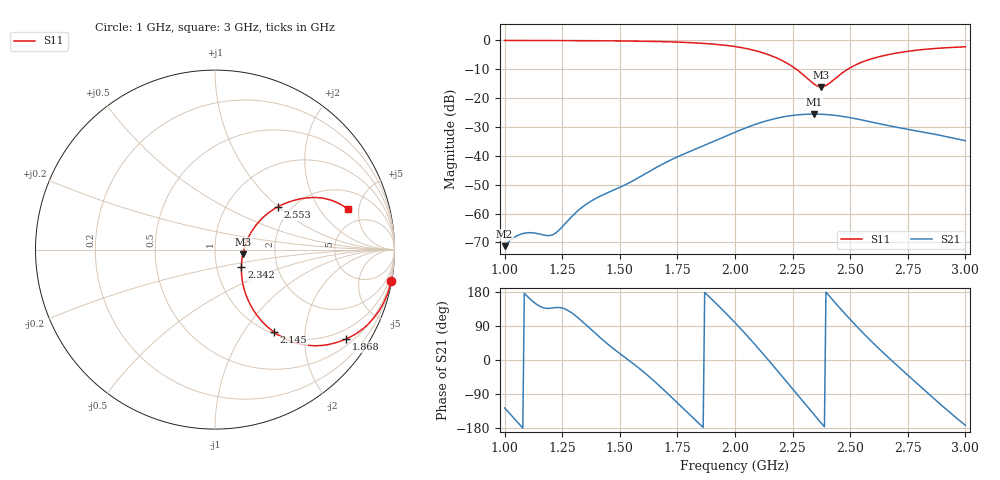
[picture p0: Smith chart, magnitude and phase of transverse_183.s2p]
! TOUCHSTONE file generated by CST MICROWAVE STUDIO
! Date and time: Tue Mar 11 13:57:25 2025
! Project name: transverse.cst
! Parameters = {Fracture=1; B=12.5; D=160; F=5; Feed=2.85625; L=100; M=10; R=0.384908; S=2; Theta=180; length=57.125; wave=114.25}
! Header version: 2024
! Port assignment regex: !\s*Touchstone port\s*([0-9]+)\s*=\s*(CST MWS port|CST DES external port|CST DES block port)\s*(.+)\s* \(\"(.*)\"\)(\s*mode\s*([0-9]+))?.*
! Touchstone port assignment:
! Touchstone port 1 = CST MWS port 1 ("")
! Touchstone port 2 = CST MWS port 2 ("")
# GHz S MA R 50
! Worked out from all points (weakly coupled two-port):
!   305 points, 1 GHz to 3 GHz, reference 50 ohm
!   highest |S21| = -25.53 dB at 2.342 GHz (marker M1); lowest = -71.3 dB at 1 GHz (marker M2)
!   lowest |S11| = -16.1 dB at 2.375 GHz (marker M3), VSWR 1.37, Z = 68.1 - j3.75 ohm
!   |S11| at or under -10 dB: 2.266 GHz to 2.489 GHz (223 MHz wide, 9.38 % of centre)
!   S12 and S22 are empty: the file has one direction only
!   S11 on the Smith chart (normalised r, x): 1 GHz: 0, -11; 1.868 GHz: 0.68, -3.11; 2.145 GHz: 1.03, -1.39; 2.342 GHz: 1.31, -0.27; 2.553 GHz: 1.71, +0.99; 3 GHz: 3.38, +3.83
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1  0.9978 -10.0  0.0002726 -126.6  0 0.0  0 0.0
1.03947  0.9973 -10.5  0.0003815 -153.0  0 0.0  0 0.0
1.07895  0.9966 -11.1  0.0004505 -179.6  0 0.0  0 0.0
1.21053  0.9945 -13.2  0.0004337 137.5  0 0.0  0 0.0
1.33553  0.9899 -15.5  0.00128 102.5  0 0.0  0 0.0
1.39474  0.9869 -16.8  0.001822 69.9  0 0.0  0 0.0
1.53289  0.9759 -20.3  0.003289 2.0  0 0.0  0 0.0
1.67105  0.9549 -24.8  0.006704 -67.7  0 0.0  0 0.0
1.86842  0.8844 -34.2  0.01527 178.2  0 0.0  0 0.0
2  0.7821 -43.2  0.02564 98.6  0 0.0  0 0.0
2.07237  0.6891 -49.0  0.03333 50.6  0 0.0  0 0.0
2.14474  0.5664 -54.4  0.04125 0.0  0 0.0  0 0.0
2.24342  0.3651 -57.3  0.04976 -71.4  0 0.0  0 0.0
2.33553  0.1854 -37.7  0.0529 -138.6  0 0.0  0 0.0
2.34211  0.1769 -34.0  0.05291 -143.3  0 0.0  0 0.0
2.375  0.1567 -9.9  0.05254 -166.9  0 0.0  0 0.0
2.40132  0.1717 9.4  0.05176 174.4  0 0.0  0 0.0
2.46711  0.276 31.6  0.04824 128.9  0 0.0  0 0.0
2.55263  0.4229 34.2  0.0417 73.3  0 0.0  0 0.0
2.67105  0.5732 30.0  0.03307 3.6  0 0.0  0 0.0
2.82895  0.7036 23.0  0.02535 -83.1  0 0.0  0 0.0
3  0.775 17.0  0.01829 -172.4  0 0.0  0 0.0
